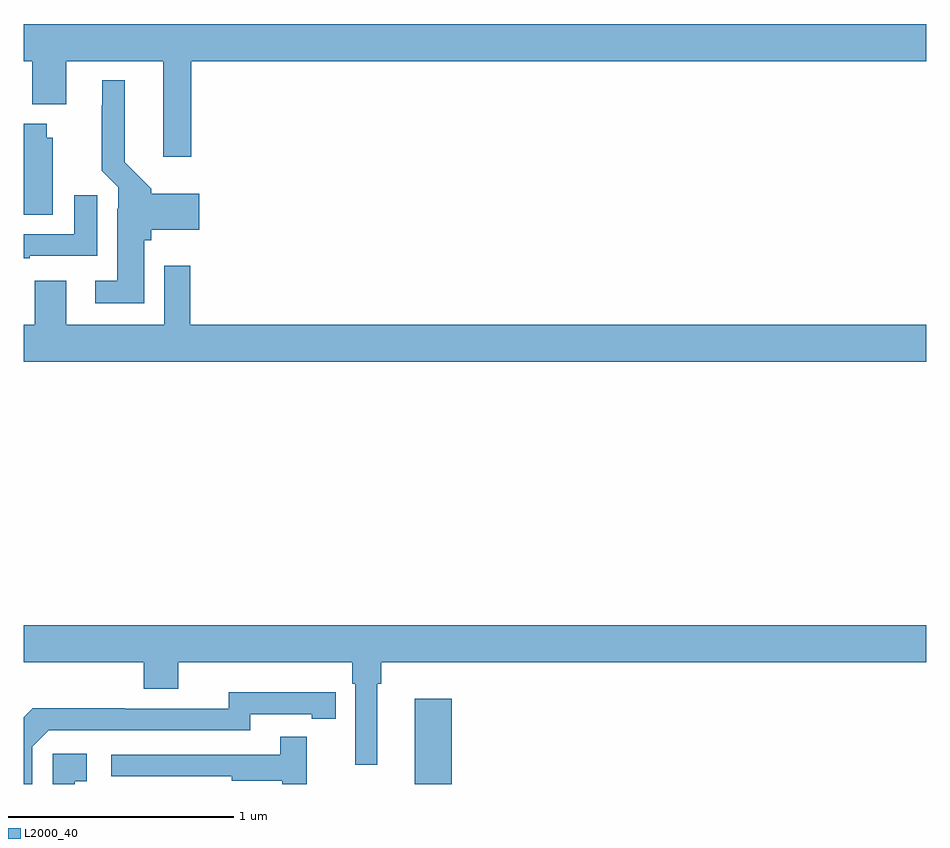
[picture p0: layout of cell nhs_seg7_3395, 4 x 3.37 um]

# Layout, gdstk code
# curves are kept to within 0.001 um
import gdstk
lib = gdstk.Library(unit=1e-6, precision=1e-09)
def R(c, l, rs):  # rectangles x0, y0, x1, y1
    for r in rs: c.add(gdstk.rectangle(r[:2], r[2:], *l))
def P(c, l, *ps):  # polygons
    for p in ps: c.add(gdstk.Polygon(p, *l))
L2000_40 = (2000, 40)

nhs_seg7_3395 = lib.new_cell('nhs_seg7_3395')
R(nhs_seg7_3395, L2000_40, [(326.732,1076,326.896,1076.377)])
P(nhs_seg7_3395, L2000_40, [(325.742,1079.204),(329,1079.204),(329,1079.368),(325,1079.368),(325,1079.204),(325.037,1079.204),(325.037,1079.012),(325.189,1079.012),(325.189,1079.204),(325.619,1079.204),(325.619,1078.779),(325.742,1078.779)],
  [(325.534,1078.41),(325.565,1078.41),(325.565,1078.457),(325.777,1078.457),(325.777,1078.615),(325.565,1078.615),(325.565,1078.638),(325.447,1078.756),(325.447,1079.119),(325.349,1079.119),(325.349,1079.009),(325.345,1079.009),(325.345,1078.718),(325.419,1078.644),(325.419,1078.55),(325.415,1078.55),(325.415,1078.231),(325.317,1078.231),(325.317,1078.13),(325.534,1078.13)],
  [(325.129,1078.863),(325.102,1078.863),(325.102,1078.927),(325,1078.927),(325,1078.522),(325.129,1078.522)],
  [(325.027,1078.341),(325.327,1078.341),(325.327,1078.609),(325.223,1078.609),(325.223,1078.437),(325,1078.437),(325,1078.329),(325.027,1078.329)],
  [(329,1078.036),(325.739,1078.036),(325.739,1078.297),(325.623,1078.297),(325.623,1078.036),(325.189,1078.036),(325.189,1078.231),(325.049,1078.231),(325.049,1078.036),(325,1078.036),(325,1077.872),(329,1077.872)],
  [(326.566,1076.444),(326.585,1076.444),(326.585,1076.54),(329,1076.54),(329,1076.704),(325,1076.704),(325,1076.54),(325.532,1076.54),(325.532,1076.423),(325.684,1076.423),(325.684,1076.54),(326.456,1076.54),(326.456,1076.444),(326.469,1076.444),(326.469,1076.085),(326.566,1076.085)],
  [(325.038,1076.166),(325.11,1076.238),(326.004,1076.238),(326.004,1076.31),(326.276,1076.31),(326.276,1076.29),(326.384,1076.29),(326.384,1076.406),(325.908,1076.407),(325.908,1076.334),(325.448,1076.334),(325.448,1076.336),(325.04,1076.336),(325,1076.296),(325,1076),(325.038,1076)],
  [(326.255,1076.209),(326.137,1076.209),(326.137,1076.13),(325.389,1076.13),(325.389,1076.034),(325.921,1076.034),(325.921,1076.014),(326.145,1076.014),(326.145,1076),(326.255,1076)],
  [(325.226,1076.013),(325.279,1076.013),(325.279,1076.134),(325.128,1076.134),(325.128,1076),(325.226,1076)])

lib.write_gds('nhs_seg7_3395.gds')
